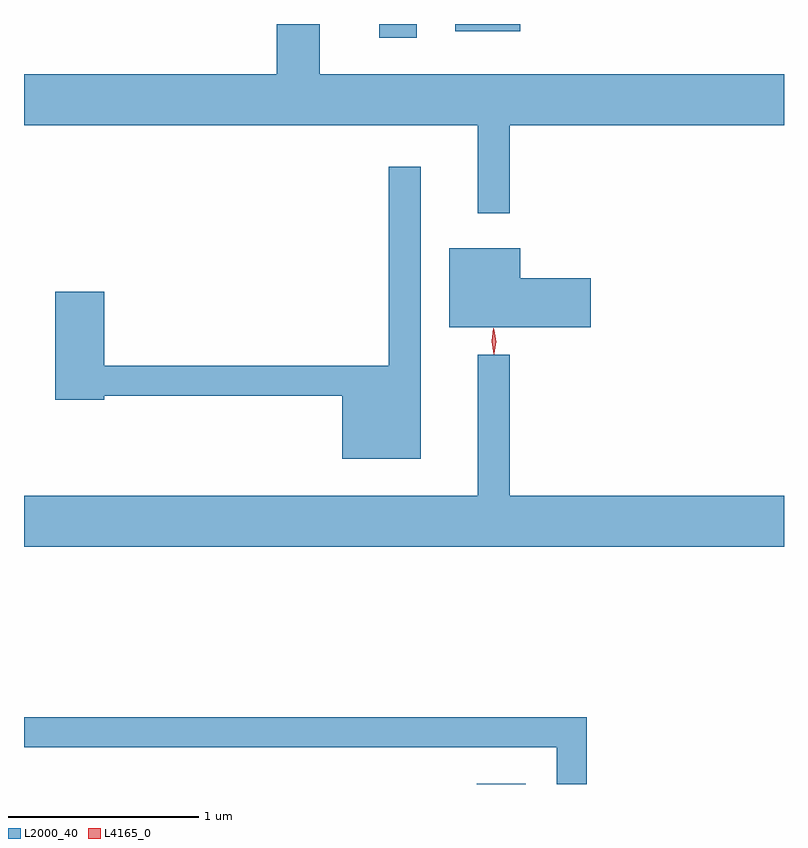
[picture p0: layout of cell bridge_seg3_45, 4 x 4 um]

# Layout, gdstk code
import gdstk
lib = gdstk.Library(unit=1e-6, precision=1e-09)
def R(c, l, rs):  # rectangles x0, y0, x1, y1
    for r in rs: c.add(gdstk.rectangle(r[:2], r[2:], *l))
def P(c, l, *ps):  # polygons
    for p in ps: c.add(gdstk.Polygon(p, *l))
L2000_40 = (2000, 40)
L4165_0 = (4165, 0)

bridge_seg3_45 = lib.new_cell('bridge_seg3_45')
R(bridge_seg3_45, L2000_40, [(1197.246,1202.468,1197.504,1202.469), (1196.731,1206.396,1196.929,1206.468), (1197.131,1206.431,1197.474,1206.468)])
P(bridge_seg3_45, L2000_40, [(1197.419,1205.936),(1198.862,1205.936),(1198.862,1206.204),(1196.419,1206.204),(1196.419,1206.468),(1196.191,1206.468),(1196.191,1206.204),(1194.862,1206.204),(1194.862,1205.936),(1197.251,1205.936),(1197.251,1205.473),(1197.419,1205.473)],
  [(1196.949,1205.718),(1196.781,1205.718),(1196.781,1204.669),(1195.284,1204.669),(1195.284,1205.059),(1195.026,1205.059),(1195.026,1204.491),(1195.284,1204.491),(1195.284,1204.511),(1196.536,1204.511),(1196.536,1204.181),(1196.949,1204.181)],
  [(1197.844,1205.129),(1197.474,1205.129),(1197.474,1205.289),(1197.101,1205.289),(1197.101,1204.871),(1197.844,1204.871)],
  [(1198.862,1203.984),(1197.419,1203.984),(1197.419,1204.728),(1197.251,1204.728),(1197.251,1203.984),(1194.862,1203.984),(1194.862,1203.716),(1198.862,1203.716)],
  [(1197.824,1202.819),(1194.862,1202.819),(1194.862,1202.661),(1197.666,1202.661),(1197.666,1202.468),(1197.824,1202.468)])
P(bridge_seg3_45, L4165_0, [(1197.334,1204.73),(1197.324,1204.798),(1197.333,1204.866),(1197.334,1204.866),(1197.334,1204.866),(1197.344,1204.798),(1197.336,1204.73),(1197.335,1204.73)],
  [(1197.338,1204.733),(1197.338,1204.734),(1197.328,1204.796),(1197.338,1204.86),(1197.338,1204.86),(1197.338,1204.86),(1197.348,1204.796),(1197.338,1204.734)])

lib.write_gds('bridge_seg3_45.gds')
